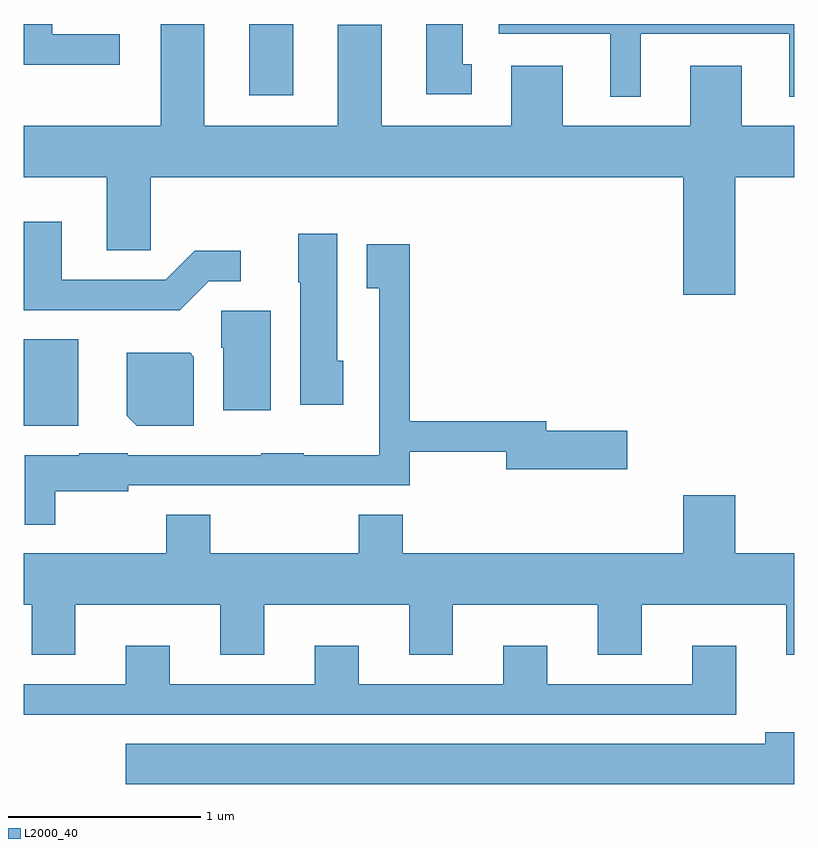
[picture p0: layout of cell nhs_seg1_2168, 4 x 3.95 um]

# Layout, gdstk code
import gdstk
lib = gdstk.Library(unit=1e-6, precision=1e-09)
def R(c, l, rs):  # rectangles x0, y0, x1, y1
    for r in rs: c.add(gdstk.rectangle(r[:2], r[2:], *l))
def P(c, l, *ps):  # polygons
    for p in ps: c.add(gdstk.Polygon(p, *l))
L2000_40 = (2000, 40)

nhs_seg1_2168 = lib.new_cell('nhs_seg1_2168')
R(nhs_seg1_2168, L2000_40, [(251.611,891.626,251.894,892.074), (252.781,893.341,253.009,893.712)])
P(nhs_seg1_2168, L2000_40, [(252.108,893.659),(251.759,893.659),(251.759,893.712),(251.611,893.712),(251.611,893.501),(252.108,893.501)],
  [(254.814,893.661),(255.586,893.661),(255.586,893.333),(255.611,893.333),(255.611,893.712),(254.076,893.712),(254.076,893.661),(254.656,893.661),(254.656,893.333),(254.814,893.333)],
  [(255.304,892.916),(255.611,892.916),(255.611,893.184),(255.339,893.184),(255.339,893.494),(255.071,893.494),(255.071,893.184),(254.409,893.184),(254.409,893.494),(254.141,893.494),(254.141,893.184),(253.469,893.184),(253.469,893.709),(253.241,893.709),(253.241,893.184),(252.549,893.184),(252.549,893.712),(252.321,893.712),(252.321,893.184),(251.611,893.184),(251.611,892.916),(252.041,892.916),(252.041,892.536),(252.269,892.536),(252.269,892.916),(255.036,892.916),(255.036,892.306),(255.304,892.306)],
  [(253.938,893.504),(253.889,893.504),(253.889,893.712),(253.701,893.712),(253.701,893.346),(253.938,893.346)],
  [(252.572,892.376),(252.738,892.376),(252.738,892.534),(252.499,892.534),(252.349,892.384),(251.809,892.384),(251.809,892.684),(251.611,892.684),(251.611,892.226),(252.422,892.226)],
  [(253.269,891.964),(253.239,891.964),(253.239,892.624),(253.036,892.624),(253.036,892.37),(253.046,892.37),(253.046,891.736),(253.269,891.736)],
  [(251.774,891.286),(252.154,891.286),(252.154,891.316),(253.614,891.316),(253.614,891.491),(254.116,891.491),(254.116,891.401),(254.744,891.401),(254.744,891.599),(254.324,891.599),(254.324,891.649),(253.614,891.649),(253.614,892.569),(253.391,892.569),(253.391,892.341),(253.456,892.341),(253.456,891.474),(253.065,891.474),(253.065,891.484),(252.845,891.484),(252.845,891.474),(252.15,891.474),(252.15,891.484),(251.9,891.484),(251.9,891.474),(251.616,891.474),(251.616,891.113),(251.774,891.113)],
  [(252.894,892.224),(252.636,892.224),(252.636,892.03),(252.646,892.03),(252.646,891.706),(252.894,891.706)],
  [(252.494,891.984),(252.474,892.004),(252.146,892.004),(252.146,891.677),(252.197,891.626),(252.494,891.626)],
  [(251.879,890.696),(252.631,890.696),(252.631,890.436),(252.859,890.436),(252.859,890.696),(253.611,890.696),(253.611,890.436),(253.839,890.436),(253.839,890.696),(254.591,890.696),(254.591,890.436),(254.819,890.436),(254.819,890.696),(255.571,890.696),(255.571,890.436),(255.611,890.436),(255.611,890.964),(255.304,890.964),(255.304,891.264),(255.036,891.264),(255.036,890.964),(253.579,890.964),(253.579,891.164),(253.351,891.164),(253.351,890.964),(252.579,890.964),(252.579,891.164),(252.351,891.164),(252.351,890.964),(251.611,890.964),(251.611,890.696),(251.651,890.696),(251.651,890.436),(251.879,890.436)],
  [(255.309,890.484),(255.081,890.484),(255.081,890.284),(254.329,890.284),(254.329,890.484),(254.101,890.484),(254.101,890.284),(253.349,890.284),(253.349,890.484),(253.121,890.484),(253.121,890.284),(252.369,890.284),(252.369,890.484),(252.141,890.484),(252.141,890.284),(251.611,890.284),(251.611,890.126),(255.309,890.126)],
  [(255.611,890.034),(255.461,890.034),(255.461,889.974),(252.141,889.974),(252.141,889.766),(255.611,889.766)])

lib.write_gds('nhs_seg1_2168.gds')
